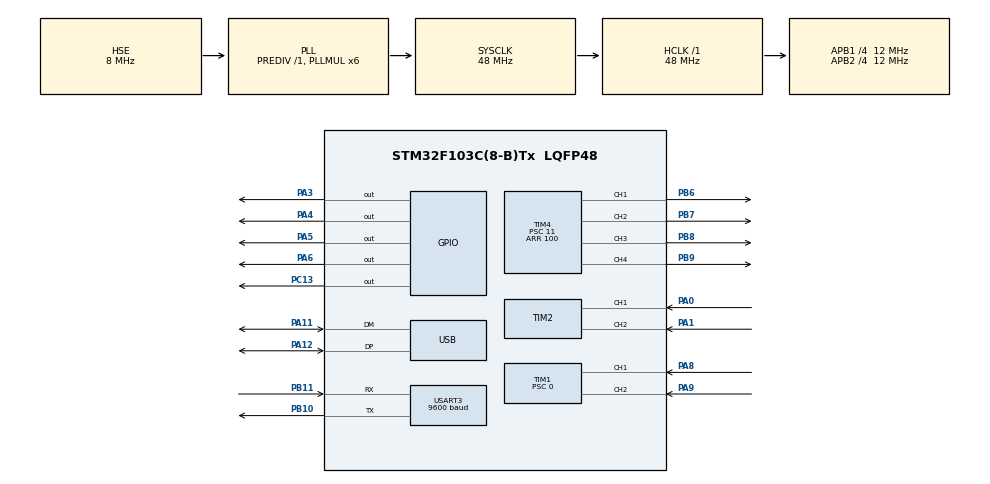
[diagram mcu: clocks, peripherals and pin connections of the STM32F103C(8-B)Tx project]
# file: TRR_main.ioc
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Mcu.Family=STM32F1
Mcu.Name=STM32F103C(8-B)Tx
Mcu.Package=LQFP48
NVIC.PriorityGroup=NVIC_PRIORITYGROUP_4
NVIC.TIM3_IRQn=true\:0\:0\:true\:false\:true\:true\:true\:true
NVIC.USART3_IRQn=true\:0\:0\:false\:false\:true\:true\:true\:true
NVIC.USB_LP_CAN1_RX0_IRQn=true\:0\:0\:false\:false\:true\:false\:true\:true
PA0-WKUP.Signal=S_TIM2_CH1_ETR
PA1.Signal=S_TIM2_CH2
PA11.Mode=Device
PA11.Signal=USB_DM
PA12.Mode=Device
PA12.Signal=USB_DP
PA13.Mode=Serial_Wire
PA13.Signal=SYS_JTMS-SWDIO
PA14.Mode=Serial_Wire
PA14.Signal=SYS_JTCK-SWCLK
PA3.Signal=GPIO_Output
PA4.Signal=GPIO_Output
PA5.Signal=GPIO_Output
PA6.Signal=GPIO_Output
PA8.GPIO_PuPd=GPIO_PULLUP
PA8.Signal=S_TIM1_CH1
PA9.GPIO_PuPd=GPIO_PULLUP
PA9.Signal=S_TIM1_CH2
PB10.Mode=Asynchronous
PB10.Signal=USART3_TX
PB11.Mode=Asynchronous
PB11.Signal=USART3_RX
PB6.Signal=S_TIM4_CH1
PB7.Signal=S_TIM4_CH2
PB8.Signal=S_TIM4_CH3
PB9.Signal=S_TIM4_CH4
PC13-TAMPER-RTC.Signal=GPIO_Output
PD0-OSC_IN.Mode=HSE-External-Oscillator
PD0-OSC_IN.Signal=RCC_OSC_IN
PD1-OSC_OUT.Mode=HSE-External-Oscillator
PD1-OSC_OUT.Signal=RCC_OSC_OUT
ProjectManager.HeapSize=0x200
ProjectManager.StackSize=0x400
ProjectManager.TargetToolchain=MDK-ARM V5.32
RCC.AHBFreq_Value=48000000
RCC.APB1CLKDivider=RCC_HCLK_DIV4
RCC.APB1Freq_Value=12000000
RCC.APB1TimFreq_Value=24000000
RCC.APB2CLKDivider=RCC_HCLK_DIV4
RCC.APB2Freq_Value=12000000
RCC.APB2TimFreq_Value=24000000
RCC.HCLKFreq_Value=48000000
RCC.PLLMUL=RCC_PLL_MUL6
RCC.SYSCLKFreq_VALUE=48000000
RCC.SYSCLKSource=RCC_SYSCLKSOURCE_PLLCLK
RCC.USBFreq_Value=48000000
SH.S_TIM1_CH1.0=TIM1_CH1,Encoder_Interface
SH.S_TIM1_CH2.0=TIM1_CH2,Encoder_Interface
SH.S_TIM2_CH1_ETR.0=TIM2_CH1,Encoder_Interface
SH.S_TIM2_CH2.0=TIM2_CH2,Encoder_Interface
SH.S_TIM4_CH1.0=TIM4_CH1,PWM Generation1 CH1
SH.S_TIM4_CH2.0=TIM4_CH2,PWM Generation2 CH2
SH.S_TIM4_CH3.0=TIM4_CH3,PWM Generation3 CH3
SH.S_TIM4_CH4.0=TIM4_CH4,PWM Generation4 CH4
TIM1.EncoderMode=TIM_ENCODERMODE_TI12
TIM1.Period=65535
TIM1.Prescaler=0
TIM2.EncoderMode=TIM_ENCODERMODE_TI12
TIM3.Period=4
TIM3.Prescaler=23999
TIM4.Channel-PWM\ Generation1\ CH1=TIM_CHANNEL_1
TIM4.Channel-PWM\ Generation2\ CH2=TIM_CHANNEL_2
TIM4.Channel-PWM\ Generation3\ CH3=TIM_CHANNEL_3
TIM4.Channel-PWM\ Generation4\ CH4=TIM_CHANNEL_4
TIM4.Period=100
TIM4.Prescaler=11
USART3.BaudRate=9600
USART3.VirtualMode=VM_ASYNC
USB_DEVICE.CLASS_NAME_FS=CDC
USB_DEVICE.VirtualMode=Cdc
USB_DEVICE.VirtualModeFS=Cdc_FS
VP_TIM3_VS_ClockSourceINT.Mode=Internal
VP_USB_DEVICE_VS_USB_DEVICE_CDC_FS.Mode=CDC_FS
board=custom

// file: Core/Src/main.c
/* USER CODE BEGIN Header */
/**
  ******************************************************************************
  * @file           : main.c
  * @brief          : Main program body
  ******************************************************************************
  * @attention
  *
  * Copyright (c) 2023 STMicroelectronics.
  * All rights reserved.
  *
  * This software is licensed under terms that can be found in the LICENSE file
  * in the root directory of this software component.
  * If no LICENSE file comes with this software, it is provided AS-IS.
  *
  ******************************************************************************
  */

	/* 	Author: Chi */
	/* 	Right motor:
				ChannelA 	- PA1
				ChannelB 	- PA0
				R_EN			- PA6
				L_EN			- PA5
				R_PWM			-	PB9
				L_PWM			- PB8
			Left motor:
				ChannelA 	- PA8
				ChannelB 	- PA9
				R_EN			- PA3
				L_EN			- PA4
				R_PWM			-	PB6
				L_PWM			- PB7
	*/

/* USER CODE END Header */
#include "main.h"
#include "usb_device.h"

/* USER CODE BEGIN Includes */
#include "usbd_cdc_if.h"
/* USER CODE END Includes */

/* USER CODE BEGIN PD */
#define UPDATE_PERIOD			0.005		/* Chu ki cap nhat: 5ms = ngat timer 4 */
#define PULSES_IN_ROUND		249.6		/* So xung tren 1 vong cua dong co = 13 xung x ti so truyen 19.2 */
#define MANUAL_MODE				0
#define AUTO_MODE					1
/* USER CODE END PD */

TIM_HandleTypeDef htim1;
TIM_HandleTypeDef htim2;
TIM_HandleTypeDef htim3;
TIM_HandleTypeDef htim4;

UART_HandleTypeDef huart3;

/* USER CODE BEGIN PV */
/* Parameter of UART */
char Rx_indx, Rx_Buffer[20],Rx_data[2];
int16_t 	DesiredLeftSpeed_Manual 	= 0;					/* Van toc mong muon banh trai (rpm) */
int16_t 	DesiredRightSpeed_Manual	= 0;					/* Van toc mong muon banh phai (rpm) *

/* Parameter of USB USB receive */
uint8_t 	buffer[64];
int16_t		DesiredRightSpeed_Auto 		= 0;					/* Van toc mong muon banh trai (rpm) */
int16_t		DesiredLeftSpeed_Auto 		= 0;					/* Van toc mong muon banh phai (rpm) */

int 			mode											= 0;

/* Parameter of PIController */
uint8_t		RunSystem					= 0;
float 		DesiredLeftVel 		= 0;								/* Van toc mong muon banh trai (rad/s) */
float 		DesiredRightVel		= 0;								/* Van toc mong muon banh phai (rad/s) */
uint8_t		EnablePickup			= 0;
float 		Kp 							= 1.609746269;				/* Ti le */
float 		Ki 							= 29.85074627;				/* Tich phan */
float 		Kd 							= 0.0;								/* Vi phan */
float			Kb 							= 18.54375863;				/* Dung cho Anti-windup */

int32_t 	UHiLim 					= 100;								/* Gioi han tren pwm */
int32_t 	ULoLim 					= -100;									/* Gioi han duoi pwm */

/* Parameter of HAL_TIM_PeriodElapsedCallback */
int16_t 	VelCntL     		= 0;			/* Bien dem encoder => tinh van toc */
float 		CurrVelL 				= 0;	 		/* Van toc hien tai (Rad/s) */
int16_t 	CurrSpeedL	 		= 0;	 		/* Van toc hien tai (RPM) */

int16_t 	VelCntR      		= 0;			/* Bien dem encoder => tinh van toc */
float 		CurrVelR 				= 0;	 		/* Van toc hien tai (Rad/s) */
int16_t 	CurrSpeedR	 		= 0;	 		/* Van toc hien tai (RPM) */

uint16_t 	tick						= 0;			/* Dung de dem cho timer 3 */

int16_t pwmL;
int16_t pwmR;

int a;
int b;

/* USER CODE END PV */

void SystemClock_Config(void);
static void MX_GPIO_Init(void);
static void MX_TIM1_Init(void);
static void MX_TIM2_Init(void);
static void MX_TIM3_Init(void);
static void MX_TIM4_Init(void);
static void MX_USART3_UART_Init(void);

/* USER CODE BEGIN 0 */
/* ======================================================================================= UART Bluetooth ======================================================================================= */
void HAL_UART_RxCpltCallback(UART_HandleTypeDef *huart)
	{
		uint8_t i;
		if(huart->Instance == USART3) //uart1
		{
		switch(Rx_data[0]) {
						case 'a': // auto mode
							mode = AUTO_MODE;
								break;
						case 'm': // manual mode
							mode = MANUAL_MODE;
								break;
						case '7':
								RunSystem = 1;
                break;
						case '8':
								RunSystem = 0;
                break;
						case '1':
								DesiredLeftSpeed_Manual = 30;
								DesiredRightSpeed_Manual =30;
								break;
						case '2':
								DesiredLeftSpeed_Manual = -30;
								DesiredRightSpeed_Manual = -30;
								break;
						case '3':
								DesiredLeftSpeed_Manual = -20;
								DesiredRightSpeed_Manual = 20;
								break;
						case '4':
								DesiredLeftSpeed_Manual = 20;
								DesiredRightSpeed_Manual = -20;
								break;
						case '0':
								DesiredLeftSpeed_Manual = 0;
								DesiredRightSpeed_Manual = 0;
								break;
            default:
                break;
        }
				HAL_UART_Receive_IT(&huart3,(uint8_t*)Rx_data,1);
		}
	}
/* ======================================================================================= End UART Bluetooth ======================================================================================= */

/* ======================================================================================= USB printf ======================================================================================= */
//struct __FILE
//{
//  int handle;
//  /* Whatever you require here. If the only file you are using is */
//  /* standard output using printf() for debugging, no file handling */
//  /* is required. */
//};
///* FILE is typedef'd in stdio.h. */
//FILE __stdout;
//int fputc(int ch, FILE *f)
//{
//    while(!(CDC_Transmit_FS((uint8_t*)&ch, 1) == USBD_OK))
//        ;
//    return ch;
//}
/* ======================================================================================= End USB printf ======================================================================================= */

/* ================================================================================ PI Controller +(Anti-windup) ================================================================================ */
int32_t PIControllerL(float desired_val, float real_val, float gain, float Ki, float Kb, int uHiLim, int uLoLim)
{
		/* Controller values */
		static float err_reset;
		static float uI_p;
		float err, uP, uI;
		int uOut;

		/* Algorithm */
		err = (desired_val - real_val);
			/* Proportional */
		uP = gain * err;
			/* Integral (with Anti-windup) */
		uI = uI_p + (Ki * UPDATE_PERIOD *err) + Kb * UPDATE_PERIOD * err_reset;
			/* Integral part */
		uI_p = uI;
			/* Output control */
		uOut = (int)(uP + uI);
			/* Output saturation */
		if(uOut >= uHiLim)
		{
			err_reset = uHiLim - uOut;
			uOut = uHiLim;
		}
		else if(uOut <= uLoLim)
		{
			err_reset = uLoLim - uOut;
			uOut = uLoLim;
		}
		return uOut;
}

int32_t PIControllerR(float desired_val, float real_val, float gain, float Ki, float Kb, int uHiLim, int uLoLim)
{
		/* Controller values */
		static float err_reset;
		static float uI_p;
		float err, uP, uI;
		int uOut;

		/* Algorithm */
		err = (desired_val - real_val);
			/* Proportional */
		uP = gain * err;
			/* Integral (with Anti-windup) */
		uI = uI_p + (Ki * UPDATE_PERIOD *err) + Kb * UPDATE_PERIOD * err_reset;
			/* Integral part */
		uI_p = uI;
			/* Output control */
		uOut = (int)(uP + uI);
			/* Output saturation */
		if(uOut >= uHiLim)
		{
			err_reset = uHiLim - uOut;
			uOut = uHiLim;
		}
		else if(uOut <= uLoLim)
		{
			err_reset = uLoLim - uOut;
			uOut = uLoLim;
		}
		return uOut;
}
/* ============================================================================== End PI Controller +(Anti-windup) ============================================================================== */

/* ================================================================================ Motor Control ================================================================================ */
void MotorLeftRot(int32_t pwmSet)
{
	HAL_GPIO_WritePin(GPIOA, GPIO_PIN_3, 1);
	HAL_GPIO_WritePin(GPIOA, GPIO_PIN_4, 1);
	if (pwmSet > 0) {
		__HAL_TIM_SetCompare(&htim4, TIM_CHANNEL_1, pwmSet);
		__HAL_TIM_SetCompare(&htim4, TIM_CHANNEL_2, 0);
	}
	else if (pwmSet < 0) {
		__HAL_TIM_SetCompare(&htim4, TIM_CHANNEL_1,0);
		__HAL_TIM_SetCompare(&htim4, TIM_CHANNEL_2, -pwmSet);
	}
	else{
		HAL_GPIO_WritePin(GPIOA, GPIO_PIN_3, 0);
		HAL_GPIO_WritePin(GPIOA, GPIO_PIN_4, 0);
	}
}
void MotorRightRot(int32_t pwmSet)
{
	HAL_GPIO_WritePin(GPIOA, GPIO_PIN_5, 1);
	HAL_GPIO_WritePin(GPIOA, GPIO_PIN_6, 1);
	if (pwmSet > 0) {
		__HAL_TIM_SetCompare(&htim4, TIM_CHANNEL_3, pwmSet);
		__HAL_TIM_SetCompare(&htim4, TIM_CHANNEL_4, 0);
	}
	else if (pwmSet < 0) {
		__HAL_TIM_SetCompare(&htim4, TIM_CHANNEL_3,0);
		__HAL_TIM_SetCompare(&htim4, TIM_CHANNEL_4, -pwmSet);
	}
	else{
		HAL_GPIO_WritePin(GPIOA, GPIO_PIN_5, 0);
		HAL_GPIO_WritePin(GPIOA, GPIO_PIN_6, 0);
	}
}
/* ============================================================================== End Motor Control ============================================================================== */

/* USER CODE END 0 */

int main(void)
{

  /* MCU Configuration--------------------------------------------------------*/

  /* Reset of all peripherals, Initializes the Flash interface and the Systick. */
  HAL_Init();

  /* Configure the system clock */
  SystemClock_Config();

  /* Initialize all configured peripherals */
  MX_GPIO_Init();
  MX_TIM1_Init();
  MX_TIM2_Init();
  MX_TIM3_Init();
  MX_TIM4_Init();
  MX_USB_DEVICE_Init();
  MX_USART3_UART_Init();
  /* USER CODE BEGIN 2 */
	HAL_TIM_PWM_Start(&htim4, TIM_CHANNEL_1);	// start  timer 1
	HAL_TIM_PWM_Start(&htim4, TIM_CHANNEL_2);	// start 	timer 1
	HAL_TIM_PWM_Start(&htim4, TIM_CHANNEL_3);	// start  timer 1
	HAL_TIM_PWM_Start(&htim4, TIM_CHANNEL_4);	// start 	timer 1
	HAL_TIM_Base_Start_IT(&htim3);						// start  timer 3
	HAL_TIM_Encoder_Start(&htim1, TIM_CHANNEL_ALL); // start encode mode
	HAL_TIM_Encoder_Start(&htim2, TIM_CHANNEL_ALL); // start encode mode
	HAL_UART_Receive_IT(&huart3,(uint8_t*)Rx_data,1);
  /* USER CODE END 2 */

  /* Infinite loop */
  while (1)
  {
//		MotorLeftRot(30);
//		a=__HAL_TIM_GET_COUNTER(&htim1);
////		MotorRightRot(30);
//		b=__HAL_TIM_GET_COUNTER(&htim2);
  }
}

void SystemClock_Config(void)
{
  RCC_OscInitTypeDef RCC_OscInitStruct = {0};
  RCC_ClkInitTypeDef RCC_ClkInitStruct = {0};
  RCC_PeriphCLKInitTypeDef PeriphClkInit = {0};

  /** Initializes the RCC Oscillators according to the specified parameters
  * in the RCC_OscInitTypeDef structure.
  */
  RCC_OscInitStruct.OscillatorType = RCC_OSCILLATORTYPE_HSE;
  RCC_OscInitStruct.HSEState = RCC_HSE_ON;
  RCC_OscInitStruct.HSEPredivValue = RCC_HSE_PREDIV_DIV1;
  RCC_OscInitStruct.HSIState = RCC_HSI_ON;
  RCC_OscInitStruct.PLL.PLLState = RCC_PLL_ON;
  RCC_OscInitStruct.PLL.PLLSource = RCC_PLLSOURCE_HSE;
  RCC_OscInitStruct.PLL.PLLMUL = RCC_PLL_MUL6;
  if (HAL_RCC_OscConfig(&RCC_OscInitStruct) != HAL_OK)
  {
    Error_Handler();
  }

  /** Initializes the CPU, AHB and APB buses clocks
  */
  RCC_ClkInitStruct.ClockType = RCC_CLOCKTYPE_HCLK|RCC_CLOCKTYPE_SYSCLK
                              |RCC_CLOCKTYPE_PCLK1|RCC_CLOCKTYPE_PCLK2;
  RCC_ClkInitStruct.SYSCLKSource = RCC_SYSCLKSOURCE_PLLCLK;
  RCC_ClkInitStruct.AHBCLKDivider = RCC_SYSCLK_DIV1;
  RCC_ClkInitStruct.APB1CLKDivider = RCC_HCLK_DIV4;
  RCC_ClkInitStruct.APB2CLKDivider = RCC_HCLK_DIV4;

  if (HAL_RCC_ClockConfig(&RCC_ClkInitStruct, FLASH_LATENCY_1) != HAL_OK)
  {
    Error_Handler();
  }
  PeriphClkInit.PeriphClockSelection = RCC_PERIPHCLK_USB;
  PeriphClkInit.UsbClockSelection = RCC_USBCLKSOURCE_PLL;
  if (HAL_RCCEx_PeriphCLKConfig(&PeriphClkInit) != HAL_OK)
  {
    Error_Handler();
  }
}

static void MX_TIM1_Init(void)
{

  TIM_Encoder_InitTypeDef sConfig = {0};
  TIM_MasterConfigTypeDef sMasterConfig = {0};

  htim1.Instance = TIM1;
  htim1.Init.Prescaler = 0;
  htim1.Init.CounterMode = TIM_COUNTERMODE_UP;
  htim1.Init.Period = 65535;
  htim1.Init.ClockDivision = TIM_CLOCKDIVISION_DIV1;
  htim1.Init.RepetitionCounter = 0;
  htim1.Init.AutoReloadPreload = TIM_AUTORELOAD_PRELOAD_DISABLE;
  sConfig.EncoderMode = TIM_ENCODERMODE_TI12;
  sConfig.IC1Polarity = TIM_ICPOLARITY_RISING;
  sConfig.IC1Selection = TIM_ICSELECTION_DIRECTTI;
  sConfig.IC1Prescaler = TIM_ICPSC_DIV1;
  sConfig.IC1Filter = 0;
  sConfig.IC2Polarity = TIM_ICPOLARITY_RISING;
  sConfig.IC2Selection = TIM_ICSELECTION_DIRECTTI;
  sConfig.IC2Prescaler = TIM_ICPSC_DIV1;
  sConfig.IC2Filter = 0;
  if (HAL_TIM_Encoder_Init(&htim1, &sConfig) != HAL_OK)
  {
    Error_Handler();
  }
  sMasterConfig.MasterOutputTrigger = TIM_TRGO_RESET;
  sMasterConfig.MasterSlaveMode = TIM_MASTERSLAVEMODE_DISABLE;
  if (HAL_TIMEx_MasterConfigSynchronization(&htim1, &sMasterConfig) != HAL_OK)
  {
    Error_Handler();
  }

}

static void MX_TIM2_Init(void)
{

  TIM_Encoder_InitTypeDef sConfig = {0};
  TIM_MasterConfigTypeDef sMasterConfig = {0};

  htim2.Instance = TIM2;
  htim2.Init.Prescaler = 0;
  htim2.Init.CounterMode = TIM_COUNTERMODE_UP;
  htim2.Init.Period = 65535;
  htim2.Init.ClockDivision = TIM_CLOCKDIVISION_DIV1;
  htim2.Init.AutoReloadPreload = TIM_AUTORELOAD_PRELOAD_DISABLE;
  sConfig.EncoderMode = TIM_ENCODERMODE_TI12;
  sConfig.IC1Polarity = TIM_ICPOLARITY_RISING;
  sConfig.IC1Selection = TIM_ICSELECTION_DIRECTTI;
  sConfig.IC1Prescaler = TIM_ICPSC_DIV1;
  sConfig.IC1Filter = 0;
  sConfig.IC2Polarity = TIM_ICPOLARITY_RISING;
  sConfig.IC2Selection = TIM_ICSELECTION_DIRECTTI;
  sConfig.IC2Prescaler = TIM_ICPSC_DIV1;
  sConfig.IC2Filter = 0;
  if (HAL_TIM_Encoder_Init(&htim2, &sConfig) != HAL_OK)
  {
    Error_Handler();
  }
  sMasterConfig.MasterOutputTrigger = TIM_TRGO_RESET;
  sMasterConfig.MasterSlaveMode = TIM_MASTERSLAVEMODE_DISABLE;
  if (HAL_TIMEx_MasterConfigSynchronization(&htim2, &sMasterConfig) != HAL_OK)
  {
    Error_Handler();
  }

}

static void MX_TIM3_Init(void)
{

  TIM_ClockConfigTypeDef sClockSourceConfig = {0};
  TIM_MasterConfigTypeDef sMasterConfig = {0};

  htim3.Instance = TIM3;
  htim3.Init.Prescaler = 23999;
  htim3.Init.CounterMode = TIM_COUNTERMODE_UP;
  htim3.Init.Period = 4;
  htim3.Init.ClockDivision = TIM_CLOCKDIVISION_DIV1;
  htim3.Init.AutoReloadPreload = TIM_AUTORELOAD_PRELOAD_DISABLE;
  if (HAL_TIM_Base_Init(&htim3) != HAL_OK)
  {
    Error_Handler();
  }
  sClockSourceConfig.ClockSource = TIM_CLOCKSOURCE_INTERNAL;
  if (HAL_TIM_ConfigClockSource(&htim3, &sClockSourceConfig) != HAL_OK)
  {
    Error_Handler();
  }
  sMasterConfig.MasterOutputTrigger = TIM_TRGO_RESET;
  sMasterConfig.MasterSlaveMode = TIM_MASTERSLAVEMODE_DISABLE;
  if (HAL_TIMEx_MasterConfigSynchronization(&htim3, &sMasterConfig) != HAL_OK)
  {
    Error_Handler();
  }

}

static void MX_TIM4_Init(void)
{

  TIM_MasterConfigTypeDef sMasterConfig = {0};
  TIM_OC_InitTypeDef sConfigOC = {0};

  htim4.Instance = TIM4;
  htim4.Init.Prescaler = 11;
  htim4.Init.CounterMode = TIM_COUNTERMODE_UP;
  htim4.Init.Period = 100;
  htim4.Init.ClockDivision = TIM_CLOCKDIVISION_DIV1;
  htim4.Init.AutoReloadPreload = TIM_AUTORELOAD_PRELOAD_DISABLE;
  if (HAL_TIM_PWM_Init(&htim4) != HAL_OK)
  {
    Error_Handler();
  }
  sMasterConfig.MasterOutputTrigger = TIM_TRGO_RESET;
  sMasterConfig.MasterSlaveMode = TIM_MASTERSLAVEMODE_DISABLE;
  if (HAL_TIMEx_MasterConfigSynchronization(&htim4, &sMasterConfig) != HAL_OK)
  {
    Error_Handler();
  }
  sConfigOC.OCMode = TIM_OCMODE_PWM1;
  sConfigOC.Pulse = 0;
  sConfigOC.OCPolarity = TIM_OCPOLARITY_HIGH;
  sConfigOC.OCFastMode = TIM_OCFAST_DISABLE;
  if (HAL_TIM_PWM_ConfigChannel(&htim4, &sConfigOC, TIM_CHANNEL_1) != HAL_OK)
  {
    Error_Handler();
  }
  if (HAL_TIM_PWM_ConfigChannel(&htim4, &sConfigOC, TIM_CHANNEL_2) != HAL_OK)
  {
    Error_Handler();
  }
  if (HAL_TIM_PWM_ConfigChannel(&htim4, &sConfigOC, TIM_CHANNEL_3) != HAL_OK)
  {
    Error_Handler();
  }
  if (HAL_TIM_PWM_ConfigChannel(&htim4, &sConfigOC, TIM_CHANNEL_4) != HAL_OK)
  {
    Error_Handler();
  }
  HAL_TIM_MspPostInit(&htim4);

}

static void MX_USART3_UART_Init(void)
{

  huart3.Instance = USART3;
  huart3.Init.BaudRate = 9600;
  huart3.Init.WordLength = UART_WORDLENGTH_8B;
  huart3.Init.StopBits = UART_STOPBITS_1;
  huart3.Init.Parity = UART_PARITY_NONE;
  huart3.Init.Mode = UART_MODE_TX_RX;
  huart3.Init.HwFlowCtl = UART_HWCONTROL_NONE;
  huart3.Init.OverSampling = UART_OVERSAMPLING_16;
  if (HAL_UART_Init(&huart3) != HAL_OK)
  {
    Error_Handler();
  }

}

static void MX_GPIO_Init(void)
{
  GPIO_InitTypeDef GPIO_InitStruct = {0};

  /* GPIO Ports Clock Enable */
  __HAL_RCC_GPIOC_CLK_ENABLE();
  __HAL_RCC_GPIOD_CLK_ENABLE();
  __HAL_RCC_GPIOA_CLK_ENABLE();
  __HAL_RCC_GPIOB_CLK_ENABLE();

  /*Configure GPIO pin Output Level */
  HAL_GPIO_WritePin(GPIOC, GPIO_PIN_13, GPIO_PIN_RESET);

  /*Configure GPIO pin Output Level */
  HAL_GPIO_WritePin(GPIOA, GPIO_PIN_3|GPIO_PIN_4|GPIO_PIN_5|GPIO_PIN_6, GPIO_PIN_RESET);

  /*Configure GPIO pin : PC13 */
  GPIO_InitStruct.Pin = GPIO_PIN_13;
  GPIO_InitStruct.Mode = GPIO_MODE_OUTPUT_PP;
  GPIO_InitStruct.Pull = GPIO_NOPULL;
  GPIO_InitStruct.Speed = GPIO_SPEED_FREQ_LOW;
  HAL_GPIO_Init(GPIOC, &GPIO_InitStruct);

  /*Configure GPIO pins : PA3 PA4 PA5 PA6 */
  GPIO_InitStruct.Pin = GPIO_PIN_3|GPIO_PIN_4|GPIO_PIN_5|GPIO_PIN_6;
  GPIO_InitStruct.Mode = GPIO_MODE_OUTPUT_PP;
  GPIO_InitStruct.Pull = GPIO_NOPULL;
  GPIO_InitStruct.Speed = GPIO_SPEED_FREQ_LOW;
  HAL_GPIO_Init(GPIOA, &GPIO_InitStruct);

}

/* USER CODE BEGIN 4 */

/* ====================================================================== Timer Interrupt ====================================================================== */
void HAL_TIM_PeriodElapsedCallback(TIM_HandleTypeDef *htim) {

	if(htim->Instance==TIM3)																												/* Ngat timer 3: 5ms */
	{
		if (mode == MANUAL_MODE) {
			DesiredLeftVel = DesiredLeftSpeed_Manual*2*3.1415/60;																/* rad/s */
			DesiredRightVel = DesiredRightSpeed_Manual*2*3.1415/60;															/* rad/s */
		}
		else if (mode == AUTO_MODE) {
			DesiredLeftVel = DesiredLeftSpeed_Auto*2*3.1415/60;																/* rad/s */
			DesiredRightVel = DesiredRightSpeed_Auto*2*3.1415/60;															/* rad/s */
		}

		if (RunSystem ==1) {
			VelCntL			=__HAL_TIM_GET_COUNTER(&htim1);																		/* Lay gia tri count velocity */
			__HAL_TIM_SET_COUNTER(&htim1, 0);                                 						/* Reset cnt */
			CurrSpeedL 	= 60*VelCntL/(4*PULSES_IN_ROUND*UPDATE_PERIOD);										/* RPM */
			CurrVelL 		= 2*3.1415*VelCntL/(4*PULSES_IN_ROUND*UPDATE_PERIOD);							/* rad/s */
			pwmL = PIControllerL(DesiredLeftVel, CurrVelL, Kp, Ki, Kb, UHiLim, ULoLim);		/* caculate pwm */
			MotorLeftRot(pwmL);																														/* Control left motor */

			VelCntR			=__HAL_TIM_GET_COUNTER(&htim2);																		/* Lay gia tri count velocity */
			__HAL_TIM_SET_COUNTER(&htim2, 0);                                 						/* Reset cnt */
			CurrSpeedR 	= 60*VelCntR/(4*PULSES_IN_ROUND*UPDATE_PERIOD);										/* RPM */
			CurrVelR 		= 2*3.1415*VelCntR/(4*PULSES_IN_ROUND*UPDATE_PERIOD);							/* rad/s */
			pwmR = PIControllerR(DesiredRightVel, CurrVelR, Kp, Ki, Kb, UHiLim, ULoLim);	/* caculate pwm */
			MotorRightRot(pwmR);																													/* Control right motor */
		}
		else {
			__HAL_TIM_SET_COUNTER(&htim1, 0);
			__HAL_TIM_SET_COUNTER(&htim2, 0);
			pwmL = 0;
			pwmR = 0;
			MotorLeftRot(pwmL);																														/* Control left motor */
			MotorRightRot(pwmR);																													/* Control right motor */
		}
	return;
	}
}
/* ====================================================================== End Timer Interrupt ====================================================================== */

/* USER CODE END 4 */

void Error_Handler(void)
{
  __disable_irq();
  while (1)
  {
  }
}
